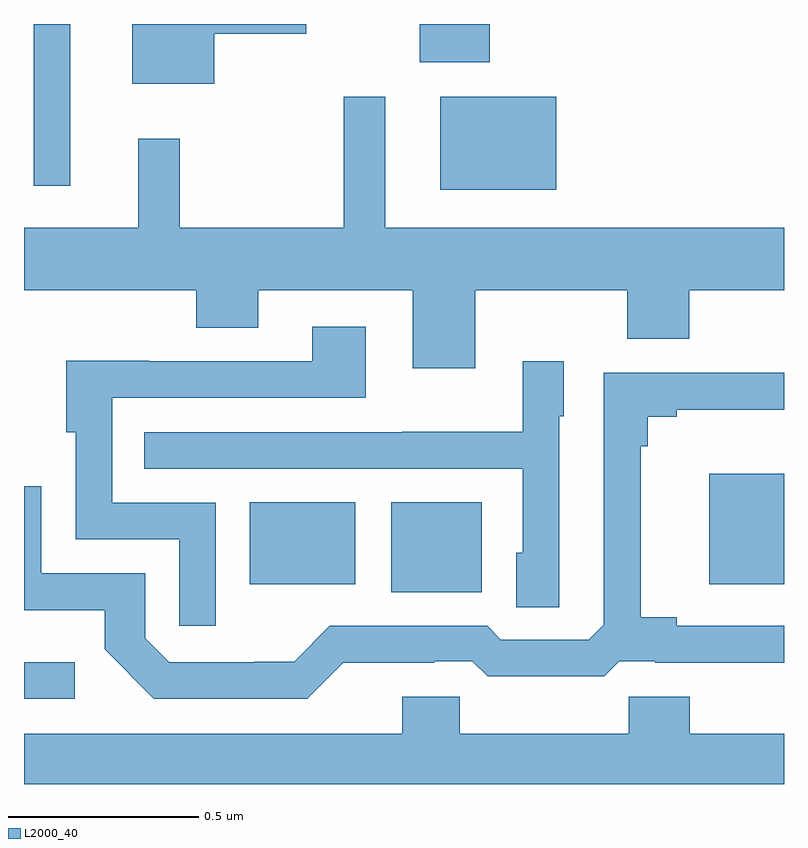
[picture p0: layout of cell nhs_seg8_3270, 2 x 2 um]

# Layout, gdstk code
import gdstk
lib = gdstk.Library(unit=1e-6, precision=1e-09)
def R(c, l, rs):  # rectangles x0, y0, x1, y1
    for r in rs: c.add(gdstk.rectangle(r[:2], r[2:], *l))
def P(c, l, *ps):  # polygons
    for p in ps: c.add(gdstk.Polygon(p, *l))
L2000_40 = (2000, 40)

nhs_seg8_3270 = lib.new_cell('nhs_seg8_3270')
R(nhs_seg8_3270, L2000_40, [(155,1082.124,155.134,1082.221), (155.966,1082.405,156.205,1082.641), (155.594,1082.426,155.872,1082.641), (156.803,1082.426,157,1082.716), (156.095,1083.464,156.4,1083.709), (155.025,1083.474,155.122,1083.9), (156.042,1083.8,156.225,1083.9)])
P(nhs_seg8_3270, L2000_40, [(155.5,1083.875),(155.743,1083.875),(155.743,1083.9),(155.285,1083.9),(155.285,1083.743),(155.5,1083.743)],
  [(156.187,1083.2),(156.587,1083.2),(156.587,1083.072),(156.751,1083.072),(156.751,1083.2),(157,1083.2),(157,1083.364),(155.95,1083.364),(155.95,1083.709),(155.841,1083.709),(155.841,1083.364),(155.41,1083.364),(155.41,1083.598),(155.3,1083.598),(155.3,1083.364),(155,1083.364),(155,1083.2),(155.453,1083.2),(155.453,1083.101),(155.617,1083.101),(155.617,1083.2),(156.023,1083.2),(156.023,1082.994),(156.187,1082.994)],
  [(155.505,1082.64),(155.232,1082.64),(155.232,1082.916),(155.899,1082.916),(155.899,1083.103),(155.759,1083.103),(155.759,1083.012),(155.329,1083.012),(155.329,1083.014),(155.111,1083.014),(155.111,1082.826),(155.136,1082.826),(155.136,1082.544),(155.409,1082.544),(155.409,1082.316),(155.505,1082.316)],
  [(156.408,1082.868),(156.421,1082.868),(156.421,1083.013),(156.312,1083.013),(156.312,1082.827),(155.995,1082.827),(155.995,1082.826),(155.317,1082.826),(155.317,1082.73),(156.312,1082.73),(156.312,1082.508),(156.296,1082.508),(156.296,1082.365),(156.408,1082.365)],
  [(155.84,1082.219),(156.08,1082.219),(156.08,1082.223),(156.18,1082.223),(156.22,1082.184),(156.527,1082.184),(156.567,1082.223),(156.661,1082.223),(156.661,1082.219),(157,1082.219),(157,1082.316),(156.718,1082.316),(156.718,1082.339),(156.623,1082.339),(156.623,1082.789),(156.641,1082.789),(156.641,1082.866),(156.718,1082.866),(156.718,1082.885),(157,1082.885),(157,1082.982),(156.525,1082.982),(156.525,1082.319),(156.486,1082.28),(156.255,1082.28),(156.219,1082.316),(155.805,1082.316),(155.711,1082.222),(155.606,1082.222),(155.606,1082.22),(155.382,1082.22),(155.319,1082.283),(155.319,1082.454),(155.046,1082.454),(155.046,1082.683),(155,1082.683),(155,1082.357),(155.212,1082.357),(155.212,1082.255),(155.342,1082.124),(155.745,1082.124)],
  [(157,1082.032),(156.752,1082.032),(156.752,1082.13),(156.592,1082.13),(156.592,1082.032),(156.147,1082.032),(156.147,1082.13),(155.996,1082.13),(155.996,1082.032),(155,1082.032),(155,1081.9),(157,1081.9)])

lib.write_gds('nhs_seg8_3270.gds')
